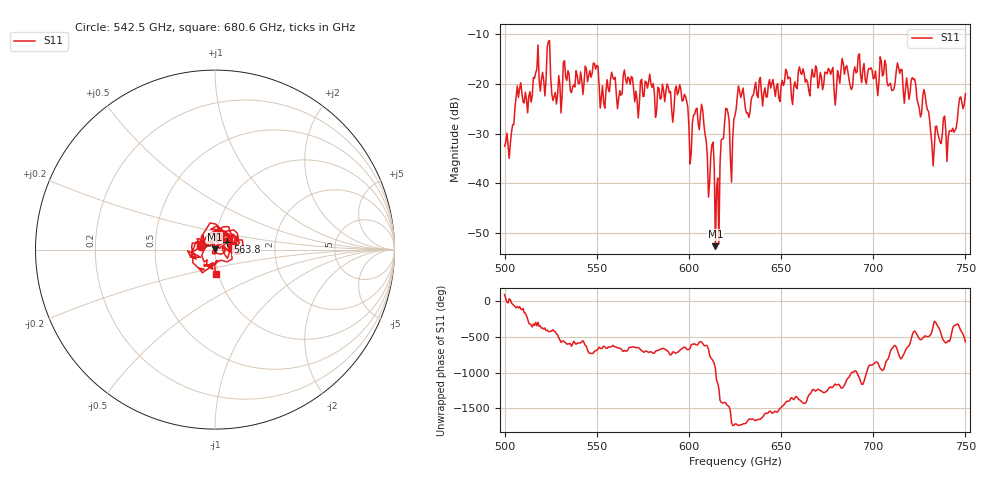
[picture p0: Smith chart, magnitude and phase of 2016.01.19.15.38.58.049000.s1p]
!Created with skrf (http://scikit-rf.org).
# GHz S RI R 50.0
!freq ReS11 ImS11
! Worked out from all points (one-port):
!   401 points, 500 GHz to 750 GHz, reference 50 ohm
!   lowest |S11| = -52.6 dB at 614.4 GHz (marker M1), VSWR 1.00, Z = 49.8 + j0.16 ohm
!   |S11| at or under -10 dB: start of sweep to end of sweep
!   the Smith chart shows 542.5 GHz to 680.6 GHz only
!   S11 on the Smith chart (normalised r, x): 542.5 GHz: 0.86, +0.03; 563.8 GHz: 1.14, +0.09; 680.6 GHz: 0.97, -0.27
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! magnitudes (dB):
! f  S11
! 500 GHz  -32.5
! 516.9 GHz  -17.8
! 531.2 GHz  -22.0
! 542.5 GHz  -22.1
! 549.4 GHz  -17.0
! 553.1 GHz  -20.3
! 562.5 GHz  -21.3
! 563.8 GHz  -22.0
! 593.8 GHz  -22.2
! 601.2 GHz  -34.0
! 607.5 GHz  -25.3
! 610 GHz  -34.5
! 614.4 GHz  -52.6
! 615.6 GHz  -38.9
! 620 GHz  -24.9
! 623.1 GHz  -39.8
! 625 GHz  -26.3
! 628.1 GHz  -22.7
! 631.9 GHz  -25.8
! 637.5 GHz  -22.7
! 656.2 GHz  -24.1
! 680.6 GHz  -17.3
! 687.5 GHz  -20.4
! 705 GHz  -18.4
! 718.8 GHz  -20.7
! 728.1 GHz  -22.1
! 732.5 GHz  -36.5
! 750 GHz  -21.9
